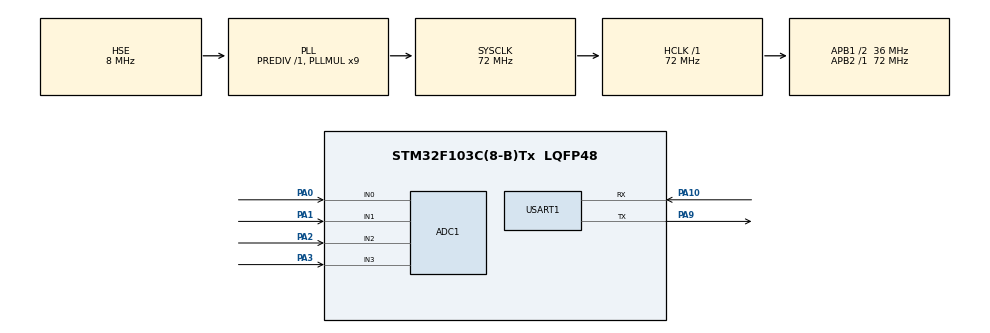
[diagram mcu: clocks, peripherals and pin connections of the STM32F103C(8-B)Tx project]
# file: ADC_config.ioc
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ADC1.Channel-0\#ChannelRegularConversion=ADC_CHANNEL_0
ADC1.NbrOfConversionFlag=1
ADC1.Rank-0\#ChannelRegularConversion=1
ADC1.SamplingTime-0\#ChannelRegularConversion=ADC_SAMPLETIME_1CYCLE_5
ADC1.master=1
Mcu.Family=STM32F1
Mcu.Name=STM32F103C(8-B)Tx
Mcu.Package=LQFP48
NVIC.PriorityGroup=NVIC_PRIORITYGROUP_4
PA0-WKUP.Signal=ADCx_IN0
PA1.Signal=ADCx_IN1
PA10.Mode=Asynchronous
PA10.Signal=USART1_RX
PA2.Signal=ADCx_IN2
PA3.Signal=ADCx_IN3
PA9.Mode=Asynchronous
PA9.Signal=USART1_TX
PD0-OSC_IN.Mode=HSE-External-Oscillator
PD0-OSC_IN.Signal=RCC_OSC_IN
PD1-OSC_OUT.Mode=HSE-External-Oscillator
PD1-OSC_OUT.Signal=RCC_OSC_OUT
ProjectManager.HeapSize=0x200
ProjectManager.StackSize=0x400
ProjectManager.TargetToolchain=STM32CubeIDE
RCC.ADCPresc=RCC_ADCPCLK2_DIV6
RCC.AHBFreq_Value=72000000
RCC.APB1CLKDivider=RCC_HCLK_DIV2
RCC.APB1Freq_Value=36000000
RCC.APB1TimFreq_Value=72000000
RCC.APB2Freq_Value=72000000
RCC.APB2TimFreq_Value=72000000
RCC.HCLKFreq_Value=72000000
RCC.PLLMUL=RCC_PLL_MUL9
RCC.PLLSourceVirtual=RCC_PLLSOURCE_HSE
RCC.SYSCLKFreq_VALUE=72000000
RCC.SYSCLKSource=RCC_SYSCLKSOURCE_PLLCLK
RCC.USBFreq_Value=72000000
SH.ADCx_IN0.0=ADC1_IN0,IN0
SH.ADCx_IN1.0=ADC1_IN1,IN1
SH.ADCx_IN2.0=ADC1_IN2,IN2
SH.ADCx_IN3.0=ADC1_IN3,IN3
USART1.VirtualMode=VM_ASYNC
VP_SYS_VS_ND.Mode=No_Debug
board=custom

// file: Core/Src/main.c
/* USER CODE BEGIN Header */
/**
  ******************************************************************************
  * @file           : main.c
  * @brief          : Main program body
  ******************************************************************************
  * @attention
  *
  * Copyright (c) 2026 STMicroelectronics.
  * All rights reserved.
  *
  * This software is licensed under terms that can be found in the LICENSE file
  * in the root directory of this software component.
  * If no LICENSE file comes with this software, it is provided AS-IS.
  *
  ******************************************************************************
  */
/* USER CODE END Header */
#include "main.h"
#include <stdio.h>

ADC_HandleTypeDef hadc1;

UART_HandleTypeDef huart1;

void SystemClock_Config(void);
static void MX_GPIO_Init(void);
static void MX_ADC1_Init(void);
static void MX_USART1_UART_Init(void);

/* USER CODE BEGIN 0 */
/* In main.c or adc.c */

uint32_t ADC_Read(uint32_t channel)
{
    ADC_ChannelConfTypeDef sConfig = {0};

    sConfig.Channel      = channel;
    sConfig.Rank         = ADC_REGULAR_RANK_1;
    sConfig.SamplingTime = ADC_SAMPLETIME_55CYCLES_5;

    HAL_ADC_ConfigChannel(&hadc1, &sConfig);

    HAL_ADC_Start(&hadc1);
    HAL_ADC_PollForConversion(&hadc1, 100);
    uint32_t val = HAL_ADC_GetValue(&hadc1);
    HAL_ADC_Stop(&hadc1);

    return val;
}

/* ── Usage in your main loop ── */
void read_all_sensors(void)
{
    uint32_t raw_accel = ADC_Read(ADC_CHANNEL_0);  // PA0 – Accelerator
    uint32_t raw_brake = ADC_Read(ADC_CHANNEL_1);  // PA1 – Brake
    uint32_t raw_soc   = ADC_Read(ADC_CHANNEL_2);  // PA2 – Battery SOC
    uint32_t raw_temp  = ADC_Read(ADC_CHANNEL_3);  // PA3 – Motor Temp

    /* Scale to useful units */
    uint8_t accel_pct = raw_accel * 100 / 4095;
    uint8_t brake_pct = raw_brake * 100 / 4095;
    uint8_t soc_pct   = raw_soc   * 100 / 4095;
    uint8_t temp_c    = raw_temp  * 150 / 4095;  // 0–150 °C range

    /* Print over UART */
    char buf[80];
    int  len = sprintf(buf,
        "ACCEL=%3d%% BRAKE=%3d%% SOC=%3d%% TEMP=%3d\r\n",
        accel_pct, brake_pct, soc_pct, temp_c);

    HAL_UART_Transmit(&huart1, (uint8_t*)buf, len, 100);
}

/* USER CODE END 0 */

int main(void)
{

  /* MCU Configuration--------------------------------------------------------*/

  /* Reset of all peripherals, Initializes the Flash interface and the Systick. */
  HAL_Init();

  /* Configure the system clock */
  SystemClock_Config();

  /* Initialize all configured peripherals */
  MX_GPIO_Init();
  MX_ADC1_Init();
  MX_USART1_UART_Init();

  /* Infinite loop */
  /* USER CODE BEGIN WHILE */
  while (1)
  {

	  read_all_sensors();
	  HAL_Delay(200);  // 5 Hz update rate

  }
  /* USER CODE END 3 */
}

void SystemClock_Config(void)
{
  RCC_OscInitTypeDef RCC_OscInitStruct = {0};
  RCC_ClkInitTypeDef RCC_ClkInitStruct = {0};
  RCC_PeriphCLKInitTypeDef PeriphClkInit = {0};

  /** Initializes the RCC Oscillators according to the specified parameters
  * in the RCC_OscInitTypeDef structure.
  */
  RCC_OscInitStruct.OscillatorType = RCC_OSCILLATORTYPE_HSE;
  RCC_OscInitStruct.HSEState = RCC_HSE_ON;
  RCC_OscInitStruct.HSEPredivValue = RCC_HSE_PREDIV_DIV1;
  RCC_OscInitStruct.HSIState = RCC_HSI_ON;
  RCC_OscInitStruct.PLL.PLLState = RCC_PLL_ON;
  RCC_OscInitStruct.PLL.PLLSource = RCC_PLLSOURCE_HSE;
  RCC_OscInitStruct.PLL.PLLMUL = RCC_PLL_MUL9;
  if (HAL_RCC_OscConfig(&RCC_OscInitStruct) != HAL_OK)
  {
    Error_Handler();
  }

  /** Initializes the CPU, AHB and APB buses clocks
  */
  RCC_ClkInitStruct.ClockType = RCC_CLOCKTYPE_HCLK|RCC_CLOCKTYPE_SYSCLK
                              |RCC_CLOCKTYPE_PCLK1|RCC_CLOCKTYPE_PCLK2;
  RCC_ClkInitStruct.SYSCLKSource = RCC_SYSCLKSOURCE_PLLCLK;
  RCC_ClkInitStruct.AHBCLKDivider = RCC_SYSCLK_DIV1;
  RCC_ClkInitStruct.APB1CLKDivider = RCC_HCLK_DIV2;
  RCC_ClkInitStruct.APB2CLKDivider = RCC_HCLK_DIV1;

  if (HAL_RCC_ClockConfig(&RCC_ClkInitStruct, FLASH_LATENCY_2) != HAL_OK)
  {
    Error_Handler();
  }
  PeriphClkInit.PeriphClockSelection = RCC_PERIPHCLK_ADC;
  PeriphClkInit.AdcClockSelection = RCC_ADCPCLK2_DIV6;
  if (HAL_RCCEx_PeriphCLKConfig(&PeriphClkInit) != HAL_OK)
  {
    Error_Handler();
  }
}

static void MX_ADC1_Init(void)
{

  ADC_ChannelConfTypeDef sConfig = {0};

  /** Common config
  */
  hadc1.Instance = ADC1;
  hadc1.Init.ScanConvMode = ADC_SCAN_DISABLE;
  hadc1.Init.ContinuousConvMode = DISABLE;
  hadc1.Init.DiscontinuousConvMode = DISABLE;
  hadc1.Init.ExternalTrigConv = ADC_SOFTWARE_START;
  hadc1.Init.DataAlign = ADC_DATAALIGN_RIGHT;
  hadc1.Init.NbrOfConversion = 1;
  if (HAL_ADC_Init(&hadc1) != HAL_OK)
  {
    Error_Handler();
  }

  /** Configure Regular Channel
  */
  sConfig.Channel = ADC_CHANNEL_0;
  sConfig.Rank = ADC_REGULAR_RANK_1;
  sConfig.SamplingTime = ADC_SAMPLETIME_1CYCLE_5;
  if (HAL_ADC_ConfigChannel(&hadc1, &sConfig) != HAL_OK)
  {
    Error_Handler();
  }

}

static void MX_USART1_UART_Init(void)
{

  huart1.Instance = USART1;
  huart1.Init.BaudRate = 115200;
  huart1.Init.WordLength = UART_WORDLENGTH_8B;
  huart1.Init.StopBits = UART_STOPBITS_1;
  huart1.Init.Parity = UART_PARITY_NONE;
  huart1.Init.Mode = UART_MODE_TX_RX;
  huart1.Init.HwFlowCtl = UART_HWCONTROL_NONE;
  huart1.Init.OverSampling = UART_OVERSAMPLING_16;
  if (HAL_UART_Init(&huart1) != HAL_OK)
  {
    Error_Handler();
  }

}

static void MX_GPIO_Init(void)
{

  /* GPIO Ports Clock Enable */
  __HAL_RCC_GPIOD_CLK_ENABLE();
  __HAL_RCC_GPIOA_CLK_ENABLE();

}

void Error_Handler(void)
{
  __disable_irq();
  while (1)
  {
  }
}
